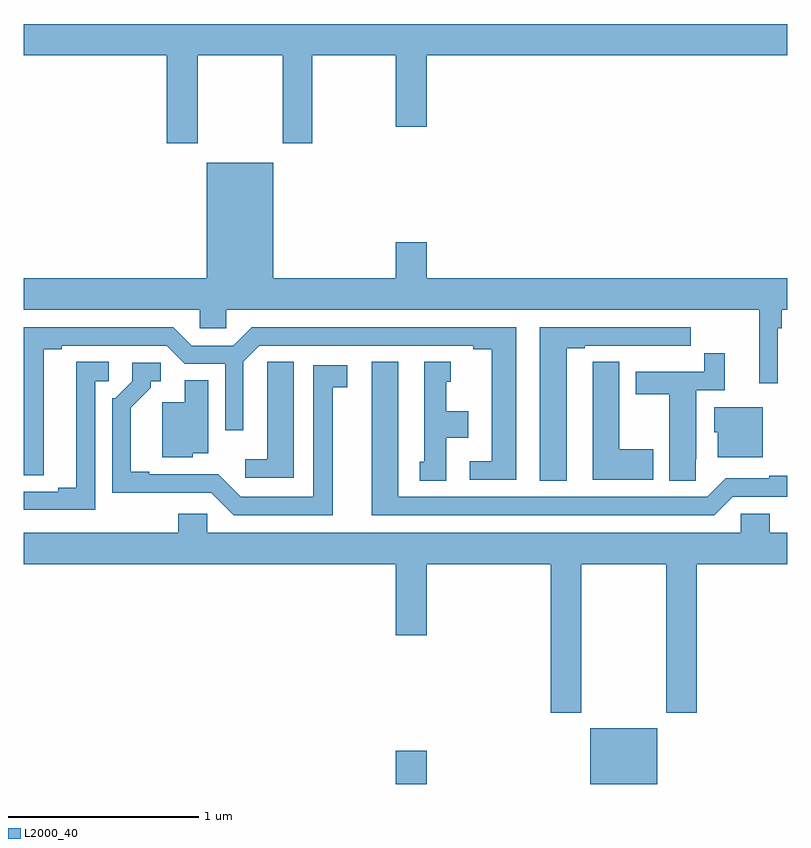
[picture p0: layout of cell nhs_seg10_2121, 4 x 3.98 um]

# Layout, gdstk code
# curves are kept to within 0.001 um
import gdstk
lib = gdstk.Library(unit=1e-6, precision=1e-09)
def R(c, l, rs):  # rectangles x0, y0, x1, y1
    for r in rs: c.add(gdstk.rectangle(r[:2], r[2:], *l))
def P(c, l, *ps):  # polygons
    for p in ps: c.add(gdstk.Polygon(p, *l))
L2000_40 = (2000, 40)

nhs_seg10_2121 = lib.new_cell('nhs_seg10_2121')
R(nhs_seg10_2121, L2000_40, [(224.948,1296.5,225.112,1296.673), (225.968,1296.5,226.318,1296.793)])
P(nhs_seg10_2121, L2000_40, [(223.911,1300.316),(224.356,1300.316),(224.356,1299.855),(224.511,1299.855),(224.511,1300.316),(224.948,1300.316),(224.948,1299.942),(225.112,1299.942),(225.112,1300.316),(227,1300.316),(227,1300.48),(223,1300.48),(223,1300.316),(223.751,1300.316),(223.751,1299.855),(223.911,1299.855)],
  [(226.95,1298.888),(226.97,1298.888),(226.97,1298.984),(227,1298.984),(227,1299.148),(225.112,1299.148),(225.112,1299.337),(224.948,1299.337),(224.948,1299.148),(224.308,1299.148),(224.308,1299.754),(223.958,1299.754),(223.958,1299.148),(223,1299.148),(223,1298.984),(223.923,1298.984),(223.923,1298.886),(224.061,1298.886),(224.061,1298.984),(226.853,1298.984),(226.853,1298.598),(226.95,1298.598)],
  [(225.844,1298.781),(225.94,1298.781),(225.94,1298.796),(226.216,1298.796),(226.216,1298.795),(226.382,1298.795),(226.382,1298.796),(226.495,1298.796),(226.495,1298.892),(225.704,1298.892),(225.704,1298.089),(225.844,1298.089)],
  [(225.58,1298.892),(224.195,1298.892),(224.099,1298.796),(223.881,1298.796),(223.785,1298.892),(223,1298.892),(223,1298.116),(223.105,1298.116),(223.105,1298.776),(223.201,1298.776),(223.201,1298.796),(223.749,1298.796),(223.845,1298.7),(224.055,1298.7),(224.055,1298.352),(224.151,1298.352),(224.151,1298.712),(224.235,1298.796),(225.356,1298.796),(225.356,1298.776),(225.452,1298.776),(225.452,1298.19),(225.336,1298.19),(225.336,1298.094),(225.58,1298.094)],
  [(226.521,1298.2),(226.522,1298.2),(226.522,1298.562),(226.673,1298.562),(226.673,1298.755),(226.564,1298.755),(226.564,1298.658),(226.205,1298.658),(226.205,1298.542),(226.382,1298.542),(226.382,1298.089),(226.521,1298.089)],
  [(224.416,1298.711),(224.277,1298.711),(224.277,1298.603),(224.276,1298.603),(224.276,1298.2),(224.16,1298.2),(224.16,1298.103),(224.416,1298.103)],
  [(226.297,1298.253),(226.12,1298.253),(226.12,1298.711),(225.981,1298.711),(225.981,1298.603),(225.98,1298.603),(225.98,1298.093),(226.297,1298.093)],
  [(223.374,1298.61),(223.447,1298.61),(223.447,1298.711),(223.277,1298.711),(223.277,1298.051),(223.181,1298.051),(223.181,1298.031),(223,1298.031),(223,1297.935),(223.374,1297.935)],
  [(225.214,1298.312),(225.328,1298.312),(225.328,1298.452),(225.214,1298.452),(225.214,1298.607),(225.238,1298.607),(225.238,1298.71),(225.098,1298.71),(225.098,1298.187),(225.074,1298.187),(225.074,1298.089),(225.214,1298.089)],
  [(226.713,1298.004),(227,1298.004),(227,1298.113),(226.904,1298.113),(226.904,1298.1),(226.677,1298.1),(226.581,1298.004),(224.962,1298.004),(224.962,1298.71),(224.822,1298.71),(224.822,1297.908),(226.617,1297.908)],
  [(224.62,1298.578),(224.695,1298.578),(224.695,1298.694),(224.516,1298.694),(224.516,1298.004),(224.136,1298.004),(224.019,1298.121),(223.657,1298.121),(223.657,1298.134),(223.561,1298.134),(223.561,1298.47),(223.666,1298.575),(223.666,1298.61),(223.717,1298.61),(223.717,1298.706),(223.569,1298.706),(223.569,1298.61),(223.479,1298.52),(223.464,1298.52),(223.464,1298.024),(223.983,1298.025),(224.1,1297.908),(224.62,1297.908)],
  [(223.887,1298.231),(223.966,1298.231),(223.966,1298.615),(223.844,1298.615),(223.844,1298.5),(223.727,1298.5),(223.727,1298.21),(223.887,1298.21)],
  [(226.87,1298.473),(226.616,1298.473),(226.616,1298.343),(226.634,1298.343),(226.634,1298.21),(226.87,1298.21)],
  [(225.921,1297.652),(226.366,1297.652),(226.366,1296.873),(226.526,1296.873),(226.526,1297.652),(227,1297.652),(227,1297.816),(226.907,1297.816),(226.907,1297.914),(226.755,1297.914),(226.755,1297.816),(223.962,1297.816),(223.962,1297.914),(223.811,1297.914),(223.811,1297.816),(223,1297.816),(223,1297.652),(224.948,1297.652),(224.948,1297.278),(225.112,1297.278),(225.112,1297.652),(225.761,1297.652),(225.761,1296.873),(225.921,1296.873)])

lib.write_gds('nhs_seg10_2121.gds')
